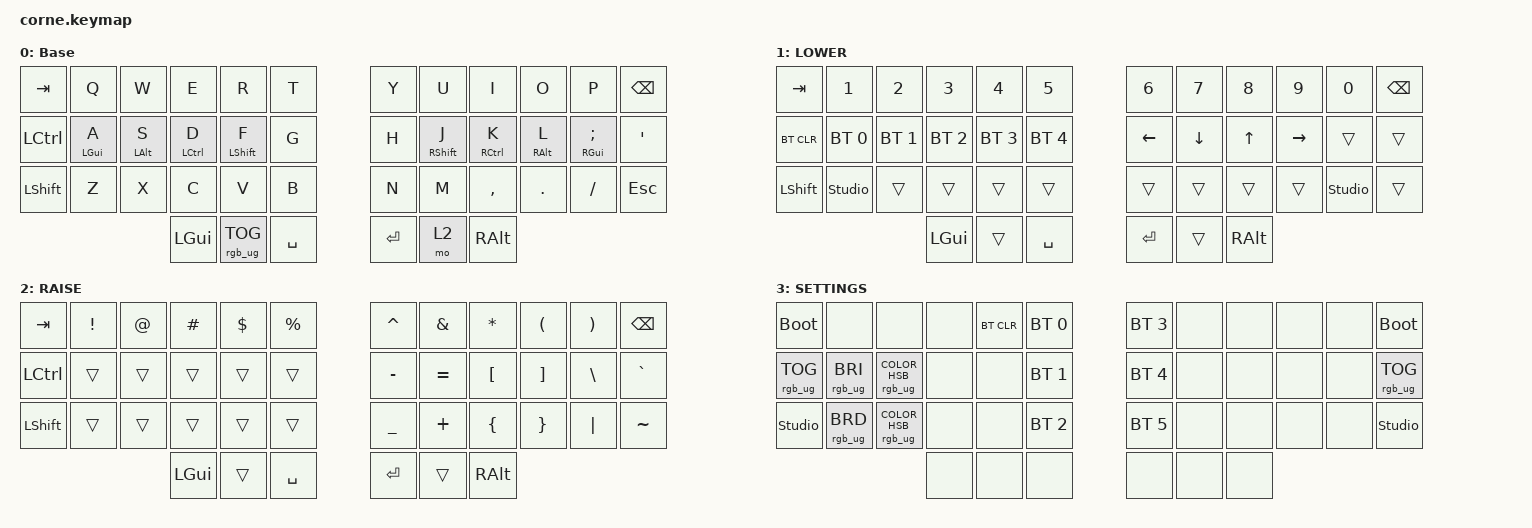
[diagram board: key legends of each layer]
/*
 * Copyright (c) 2020 The ZMK Contributors
 *
 * SPDX-License-Identifier: MIT
 */

 // Layer Definition
#define BASE 0
#define LOWER 1
#define RAISE 2
#define SETTINGS 3
#define RGB 4
#define EXTRA1 5
#define EXTRA2 6

#include <behaviors.dtsi>
#include <dt-bindings/zmk/keys.h>
#include <dt-bindings/zmk/bt.h>
#include <dt-bindings/zmk/ext_power.h>
#include <dt-bindings/zmk/rgb.h>

/ {

        behaviors {
                hm: home_row_mods {
                        compatible = "zmk,behavior-hold-tap";
                        label = "Home Row Mods";
                        #binding-cells = <2>;
                        bindings = <&kp>, <&kp>; 
                        tapping-term-ms = <200>;
                };
        };

        combos {
                compatible = "zmk,combos";
                combo_3 {
                        timeout-ms = <200>;
                        key-positions = <36 41>;
                        bindings = <&mo 3>;
                };

                combo_4 {
                        timeout-ms = <200>;
                        key-positions = <24 35>;
                        bindings = <&mo 4>;
                };

                combo_5 {
                        timeout-ms = <200>;
                        key-positions = <37 40>;
                        bindings = <&mo 5>;
                };

                combo_6 {
                        timeout-ms = <200>;
                        key-positions = <38 39>;
                        bindings = <&mo 6>;
                };
        };


        keymap {
                compatible = "zmk,keymap";

                default_layer {
                        display-name = "Base";
// -----------------------------------------------------------------------------------------
// |  TAB |  Q  |  W  |  E  |  R  |  T  |   |  Y  |  U   |  I  |  O  |  P  | BSPC |
// | CTRL |  A  |  S  |  D  |  F  |  G  |   |  H  |  J   |  K  |  L  |  ;  |  '   |
// | SHFT |  Z  |  X  |  C  |  V  |  B  |   |  N  |  M   |  ,  |  .  |  /  | ESC  |
//                    | GUI | LWR | SPC |   | ENT | RSE  | ALT |
                        bindings = <
   &kp TAB   &kp Q      &kp W      &kp E       &kp R         &kp T   &kp Y      &kp U       &kp I       &kp O      &kp P         &kp BSPC
   &kp LCTRL &hm LGUI A &hm LALT S &hm LCTRL D &hm LSHFT F   &kp G   &kp H      &hm RSHFT J &hm RCTRL K &hm RALT L &hm RGUI SEMI &kp SQT
   &kp LSHFT &kp Z      &kp X      &kp C       &kp V         &kp B   &kp N      &kp M       &kp COMMA   &kp DOT    &kp FSLH      &kp ESC
                        &kp LGUI   &rgb_ug RGB_TOG &kp SPACE     &kp RET &mo 2      &kp RALT
                        >;
                };
                lower_layer {
                        display-name = "LOWER";
// -----------------------------------------------------------------------------------------
// |  TAB |  1  |  2  |  3  |  4  |  5  |   |  6  |  7  |  8  |  9  |  0  | BSPC |
// | BTCLR| BT1 | BT2 | BT3 | BT4 | BT5 |   | LFT | DWN |  UP | RGT |     |      |
// | SHFT |     |     |     |     |     |   |     |     |     |     |     |      |
//                    | GUI |     | SPC |   | ENT |     | ALT |
                        bindings = <
   &kp TAB    &kp N1       &kp N2       &kp N3       &kp N4       &kp N5         &kp N6   &kp N7   &kp N8 &kp N9    &kp N0 &kp BSPC
   &bt BT_CLR &bt BT_SEL 0 &bt BT_SEL 1 &bt BT_SEL 2 &bt BT_SEL 3 &bt BT_SEL 4   &kp LEFT &kp DOWN &kp UP &kp RIGHT &trans &trans
   &kp LSHFT  &studio_unlock       &trans       &trans       &trans       &trans         &trans   &trans   &trans &trans    &studio_unlock &trans
                                    &kp LGUI     &trans       &kp SPACE      &kp RET  &trans   &kp RALT
                        >;
                };

                raise_layer {
                        display-name = "RAISE";
// -----------------------------------------------------------------------------------------
// |  TAB |  !  |  @  |  #  |  $  |  %  |   |  ^  |  &  |  *  |  (  |  )  | BSPC |
// | CTRL |     |     |     |     |     |   |  -  |  =  |  [  |  ]  |  \  |  `   |
// | SHFT |     |     |     |     |     |   |  _  |  +  |  {  |  }  | "|" |  ~   |
//                    | GUI |     | SPC |   | ENT |     | ALT |
                        bindings = <
   &kp  TAB  &kp EXCL &kp AT &kp HASH &kp DLLR &kp PRCNT   &kp CARET &kp AMPS  &kp ASTRK &kp LPAR &kp RPAR &kp BSPC
   &kp LCTRL &trans   &trans &trans   &trans   &trans      &kp MINUS &kp EQUAL &kp LBKT  &kp RBKT &kp BSLH &kp GRAVE
   &kp LSHFT &trans   &trans &trans   &trans   &trans      &kp UNDER &kp PLUS  &kp LBRC  &kp RBRC &kp PIPE &kp TILDE
                             &kp LGUI &trans   &kp SPACE   &kp RET   &trans    &kp RALT
                        >;
                };

        settings_layer {
            display-name = "SETTINGS";
            bindings = <
&bootloader      &none            &none  &none  &bt BT_CLR  &bt BT_SEL 0    &bt BT_SEL 3  &none  &none  &none  &none  &bootloader
&rgb_ug RGB_TOG  &rgb_ug RGB_BRI  &rgb_ug RGB_COLOR_HSB(0,100,20)  &none  &none       &bt BT_SEL 1    &bt BT_SEL 4  &none  &none  &none  &none  &rgb_ug RGB_TOG
&studio_unlock   &rgb_ug RGB_BRD  &rgb_ug RGB_COLOR_HSB(128,100,20)  &none  &none       &bt BT_SEL 2    &bt BT_SEL 5  &none  &none  &none  &none  &studio_unlock
                                         &none  &none       &none           &none         &none  &none
            >;
        };

                rgb_layer {
                        display-name = "RGB";
                        status = "reserved";
                };

                extra1 {
                        display-name = "EXTRA1";
                        status = "reserved";
                };

                extra2 {
                        display-name = "EXTRA2";
                        status = "reserved";
                };
        };
};
